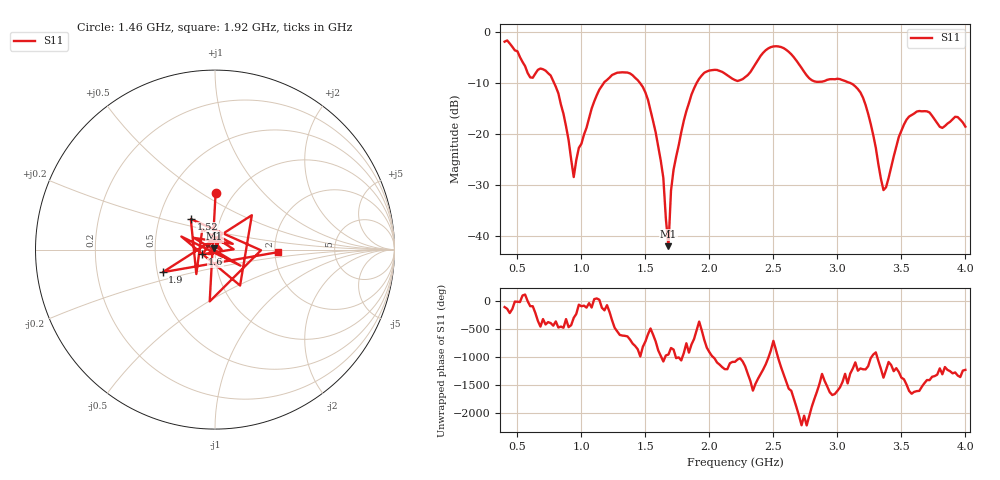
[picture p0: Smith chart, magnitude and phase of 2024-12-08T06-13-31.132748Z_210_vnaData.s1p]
!Created with skrf (http://scikit-rf.org).
# Hz S RI R 50.0
!freq ReS11 ImS11
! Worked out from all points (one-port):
!   181 points, 400 MHz to 4 GHz, reference 50 ohm
!   lowest |S11| = -42.1 dB at 1.68 GHz (marker M1), VSWR 1.02, Z = 49.6 + j0.646 ohm
!   |S11| at or under -10 dB: 787.7 MHz to 1.174 GHz (386.1 MHz wide, 39.4 % of centre); 1.459 GHz to 1.899 GHz (440.4 MHz wide, 26.2 % of centre); 3.104 GHz to end of sweep
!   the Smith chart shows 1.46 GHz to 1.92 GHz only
!   S11 on the Smith chart (normalised r, x): 1.46 GHz: 0.82, +0.58; 1.52 GHz: 0.72, +0.26; 1.6 GHz: 0.87, -0.05; 1.9 GHz: 0.53, -0.15; 1.92 GHz: 2.07, -0.07
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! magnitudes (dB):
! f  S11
! 400 MHz  -1.8
! 600 MHz  -8.8
! 760 MHz  -8.5
! 860 MHz  -16.0
! 940 MHz  -28.5
! 980 MHz  -22.7
! 1.12 GHz  -12.4
! 1.3 GHz  -7.9
! 1.46 GHz  -10.0
! 1.52 GHz  -13.3
! 1.6 GHz  -22.5
! 1.64 GHz  -28.6
! 1.68 GHz  -42.1
! 1.7 GHz  -31.2
! 1.76 GHz  -22.2
! 1.9 GHz  -10.0
! 1.92 GHz  -9.1
! 2.04 GHz  -7.4
! 2.2 GHz  -9.4
! 2.48 GHz  -2.9
! 2.66 GHz  -4.9
! 2.82 GHz  -9.6
! 3.1 GHz  -10.0
! 3.22 GHz  -14.3
! 3.36 GHz  -31.0
! 3.48 GHz  -20.6
! 3.56 GHz  -16.6
! 4 GHz  -18.6
